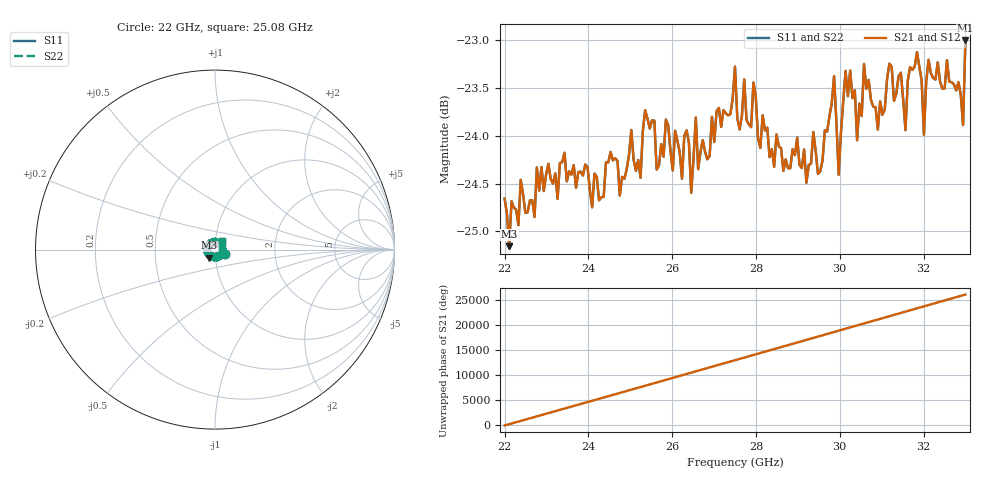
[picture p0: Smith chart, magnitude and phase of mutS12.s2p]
!Keysight Technologies,N5224B,MY57181201,A.12.70.07
!Date: Friday, July 15, 2022 11:57:50
!Correction: S11(Response(S12))
!S21(Response(S12))
!S12(Response(S12))
!S22(Response(S12))
!S2P File: Measurements: S11, S21, S12, S22:
# Hz S  dB  R 50
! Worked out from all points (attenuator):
!   201 points, 22 GHz to 33 GHz, reference 50 ohm
!   highest |S21| = -23.00 dB at 33 GHz (marker M1); lowest = -25.2 dB at 22.11 GHz (marker M2)
!   lowest |S11| = -25.2 dB at 22.11 GHz (marker M3), VSWR 1.12, Z = 46.7 - j4.24 ohm
!   |S11| at or under -10 dB: start of sweep to end of sweep
!   |S22| runs from -25.2 to -23.0 dB; largest |S21 - S12| = 0
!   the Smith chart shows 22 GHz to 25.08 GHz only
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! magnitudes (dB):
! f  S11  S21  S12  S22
! 22 GHz  -24.7  -24.7  -24.7  -24.7
! 22.11 GHz  -25.2  -25.2  -25.2  -25.2
! 23.87 GHz  -24.4  -24.4  -24.4  -24.4
! 25.25 GHz  -24.4  -24.4  -24.4  -24.4
! 25.36 GHz  -23.7  -23.7  -23.7  -23.7
! 25.68 GHz  -24.3  -24.3  -24.3  -24.3
! 26.34 GHz  -23.9  -23.9  -23.9  -23.9
! 26.45 GHz  -24.6  -24.6  -24.6  -24.6
! 26.57 GHz  -23.8  -23.8  -23.8  -23.8
! 27.5 GHz  -23.3  -23.3  -23.3  -23.3
! 28.43 GHz  -24.3  -24.3  -24.3  -24.3
! 29.37 GHz  -24.0  -24.0  -24.0  -24.0
! 29.54 GHz  -24.4  -24.4  -24.4  -24.4
! 29.86 GHz  -23.4  -23.4  -23.4  -23.4
! 29.98 GHz  -24.4  -24.4  -24.4  -24.4
! 30.14 GHz  -23.3  -23.3  -23.3  -23.3
! 30.41 GHz  -24.0  -24.0  -24.0  -24.0
! 30.58 GHz  -23.2  -23.2  -23.2  -23.2
! 30.91 GHz  -23.9  -23.9  -23.9  -23.9
! 31.18 GHz  -23.2  -23.2  -23.2  -23.2
! 32.95 GHz  -23.9  -23.9  -23.9  -23.9
! 33 GHz  -23.0  -23.0  -23.0  -23.0
